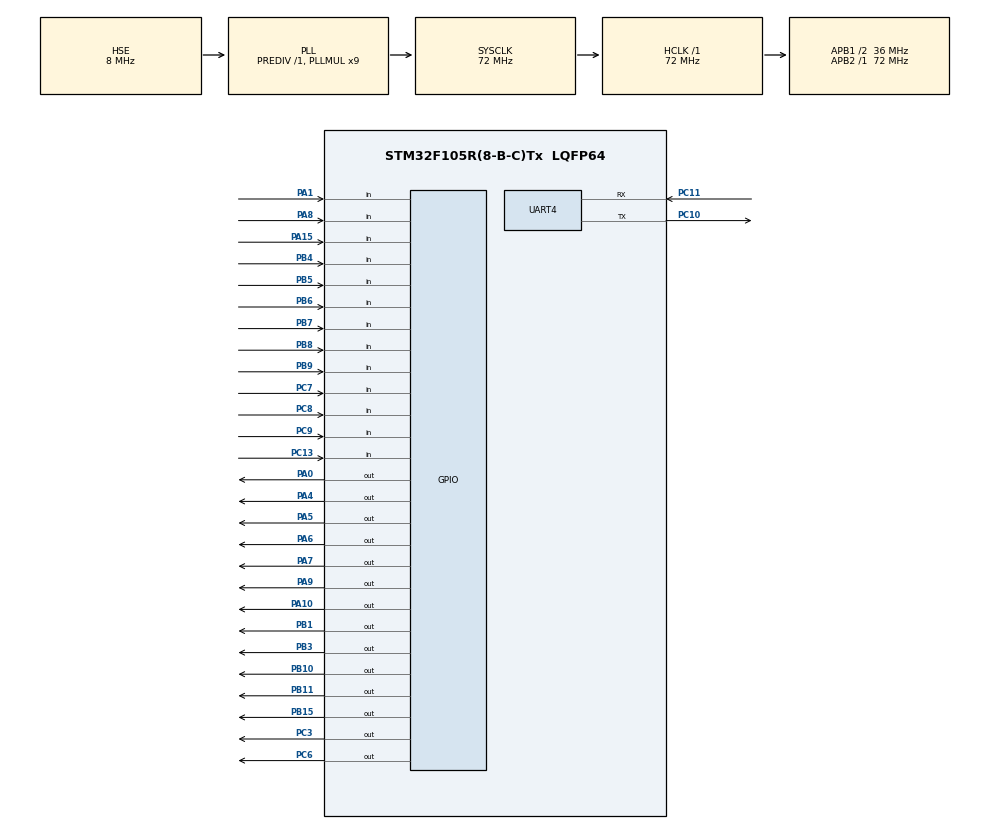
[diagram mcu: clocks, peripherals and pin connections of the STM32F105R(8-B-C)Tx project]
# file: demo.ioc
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Mcu.Family=STM32F1
Mcu.Name=STM32F105R(8-B-C)Tx
Mcu.Package=LQFP64
NVIC.PriorityGroup=NVIC_PRIORITYGROUP_4
NVIC.TIM3_IRQn=true\:3\:0\:false\:false\:true\:true\:true\:true
NVIC.UART4_IRQn=true\:0\:0\:false\:false\:true\:true\:true\:true
PA0-WKUP.GPIO_PuPd=GPIO_PULLUP
PA0-WKUP.GPIO_Speed=GPIO_SPEED_FREQ_MEDIUM
PA0-WKUP.PinState=GPIO_PIN_SET
PA0-WKUP.Signal=GPIO_Output
PA1.GPIO_PuPd=GPIO_PULLUP
PA1.Signal=GPIO_Input
PA10.GPIO_PuPd=GPIO_PULLUP
PA10.GPIO_Speed=GPIO_SPEED_FREQ_MEDIUM
PA10.Signal=GPIO_Output
PA13.Mode=Serial_Wire
PA13.Signal=SYS_JTMS-SWDIO
PA14.Mode=Serial_Wire
PA14.Signal=SYS_JTCK-SWCLK
PA15.GPIO_PuPd=GPIO_PULLUP
PA15.Signal=GPIO_Input
PA4.GPIO_PuPd=GPIO_PULLUP
PA4.GPIO_Speed=GPIO_SPEED_FREQ_MEDIUM
PA4.PinState=GPIO_PIN_SET
PA4.Signal=GPIO_Output
PA5.GPIO_PuPd=GPIO_PULLUP
PA5.GPIO_Speed=GPIO_SPEED_FREQ_MEDIUM
PA5.PinState=GPIO_PIN_SET
PA5.Signal=GPIO_Output
PA6.GPIO_PuPd=GPIO_PULLUP
PA6.GPIO_Speed=GPIO_SPEED_FREQ_HIGH
PA6.PinState=GPIO_PIN_SET
PA6.Signal=GPIO_Output
PA7.GPIO_PuPd=GPIO_PULLUP
PA7.GPIO_Speed=GPIO_SPEED_FREQ_HIGH
PA7.PinState=GPIO_PIN_SET
PA7.Signal=GPIO_Output
PA8.GPIO_PuPd=GPIO_PULLUP
PA8.Signal=GPIO_Input
PA9.GPIO_PuPd=GPIO_PULLUP
PA9.GPIO_Speed=GPIO_SPEED_FREQ_MEDIUM
PA9.PinState=GPIO_PIN_RESET
PA9.Signal=GPIO_Output
PB1.GPIO_PuPd=GPIO_PULLDOWN
PB1.GPIO_Speed=GPIO_SPEED_FREQ_MEDIUM
PB1.Signal=GPIO_Output
PB10.GPIO_PuPd=GPIO_PULLUP
PB10.GPIO_Speed=GPIO_SPEED_FREQ_HIGH
PB10.PinState=GPIO_PIN_SET
PB10.Signal=GPIO_Output
PB11.GPIO_PuPd=GPIO_PULLUP
PB11.GPIO_Speed=GPIO_SPEED_FREQ_HIGH
PB11.PinState=GPIO_PIN_SET
PB11.Signal=GPIO_Output
PB15.GPIO_PuPd=GPIO_PULLUP
PB15.GPIO_Speed=GPIO_SPEED_FREQ_MEDIUM
PB15.PinState=GPIO_PIN_SET
PB15.Signal=GPIO_Output
PB3.GPIO_PuPd=GPIO_PULLUP
PB3.GPIO_Speed=GPIO_SPEED_FREQ_MEDIUM
PB3.PinState=GPIO_PIN_SET
PB3.Signal=GPIO_Output
PB4.GPIO_PuPd=GPIO_PULLUP
PB4.Signal=GPIO_Input
PB5.GPIO_PuPd=GPIO_PULLUP
PB5.Signal=GPIO_Input
PB6.GPIO_PuPd=GPIO_PULLUP
PB6.Signal=GPIO_Input
PB7.GPIO_PuPd=GPIO_PULLDOWN
PB7.Signal=GPIO_Input
PB8.GPIO_PuPd=GPIO_PULLUP
PB8.Signal=GPIO_Input
PB9.GPIO_PuPd=GPIO_PULLUP
PB9.Signal=GPIO_Input
PC10.Mode=Asynchronous
PC10.Signal=UART4_TX
PC11.GPIO_PuPd=GPIO_PULLUP
PC11.Mode=Asynchronous
PC11.Signal=UART4_RX
PC13-TAMPER-RTC.GPIO_PuPd=GPIO_PULLUP
PC13-TAMPER-RTC.Signal=GPIO_Input
PC3.GPIO_PuPd=GPIO_PULLUP
PC3.GPIO_Speed=GPIO_SPEED_FREQ_MEDIUM
PC3.PinState=GPIO_PIN_SET
PC3.Signal=GPIO_Output
PC6.GPIO_PuPd=GPIO_PULLUP
PC6.GPIO_Speed=GPIO_SPEED_FREQ_MEDIUM
PC6.PinState=GPIO_PIN_SET
PC6.Signal=GPIO_Output
PC7.GPIO_PuPd=GPIO_PULLUP
PC7.Signal=GPIO_Input
PC8.GPIO_PuPd=GPIO_PULLUP
PC8.Signal=GPIO_Input
PC9.GPIO_PuPd=GPIO_PULLUP
PC9.Signal=GPIO_Input
PD0-OSC_IN.Mode=HSE-External-Oscillator
PD0-OSC_IN.Signal=RCC_OSC_IN
PD1-OSC_OUT.Mode=HSE-External-Oscillator
PD1-OSC_OUT.Signal=RCC_OSC_OUT
ProjectManager.HeapSize=0x200
ProjectManager.StackSize=0x400
ProjectManager.TargetToolchain=STM32CubeIDE
RCC.AHBFreq_Value=72000000
RCC.APB1CLKDivider=RCC_HCLK_DIV2
RCC.APB1Freq_Value=36000000
RCC.APB1TimFreq_Value=72000000
RCC.APB2Freq_Value=72000000
RCC.APB2TimFreq_Value=72000000
RCC.HCLKFreq_Value=72000000
RCC.PLLMUL=RCC_PLL_MUL9
RCC.PLLSourceVirtual=RCC_PLLSOURCE_HSE
RCC.SYSCLKFreq_VALUE=72000000
RCC.SYSCLKSource=RCC_SYSCLKSOURCE_PLLCLK
RCC.USBFreq_Value=48000000
TIM3.AutoReloadPreload=TIM_AUTORELOAD_PRELOAD_ENABLE
TIM3.Period=999
TIM3.Prescaler=71
UART4.VirtualMode=Asynchronous
VP_TIM3_VS_ClockSourceINT.Mode=Internal
board=custom

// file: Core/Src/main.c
/* USER CODE BEGIN Header */
/**
  ******************************************************************************
  * @file           : main.c
  * @brief          : Main program body
  ******************************************************************************
  * @attention
  *
  * Copyright (c) 2025 STMicroelectronics.
  * All rights reserved.
  *
  * This software is licensed under terms that can be found in the LICENSE file
  * in the root directory of this software component.
  * If no LICENSE file comes with this software, it is provided AS-IS.
  *
  ******************************************************************************
  */
/* USER CODE END Header */
#include "main.h"
#include "tim.h"
#include "usart.h"
#include "gpio.h"

/* USER CODE BEGIN Includes */
#include "can.h"
#include "lcd12864.h"
#include "app_time.h"
#include "adc_keys.h"
#include "key_service.h"
#include "dbc_codec.h"
#include "stdio.h"
#include "string.h"
/* USER CODE END Includes */

/* USER CODE BEGIN PTD */
#define PUTCHAR_PROTOTYPE int __io_putchar(int ch)

PUTCHAR_PROTOTYPE
{
    (void)HAL_UART_Transmit(&huart4, (uint8_t *)&ch, 1U, 100U);
    return ch;
}
/* USER CODE END PTD */

/* USER CODE BEGIN PD */

#define SHELL_LINE_SIZE 64U
#define FW_VERSION      "V1.6.0"
#define DBC_CANBOX_PACKET_COUNT 6U
#define MENU_PAGE_COUNT          3U
#define LCD_ROW_REFRESH_MS       100U // LCD每行刷新周期100ms

/* USER CODE END PD */

void SystemClock_Config(void);
/* USER CODE BEGIN PFP */

static void Shell_PrintPrompt(void);
static void Shell_PrintHelp(void);
static void Shell_Execute(char *line);
static void Shell_Process(void);
static uint8_t Shell_ParseHex(const char **text, uint32_t *value);
static uint8_t Shell_ParseDecimal(const char **text, uint32_t *value);
static void Shell_CanSend(const char *arguments);
static void Shell_LcdShow(const char *arguments);
static void CAN_PrintStatus(void);
static void CAN_ProcessReceived(void);
static void Key_ProcessEvents(void);
static void DBC_PrintFrame(const DBC_Frame *frame);
static void DBC_PrintInfo(void);
static void DBC_PrintSignals(void);
static void Shell_DbcEncode(const char *arguments);
static void Shell_DbcSend(const char *arguments);
static void Shell_DbcSet(const char *arguments);
static void Shell_DbcDecode(const char *arguments);
static void Shell_DbcChecksum(const char *arguments);
static uint8_t DBC_SendCanBoxPacket(uint8_t packet_number, uint32_t value,
                                    uint8_t verbose);
static void DBC_TxTask(uint32_t now_ms);
static void DBC_TxPrintStatus(void);
static void Menu_HandleKeyEvent(const KeyEvent *event);
static void Menu_LcdTask(uint32_t now_ms);
static void Menu_RenderRow(uint8_t row, uint32_t now_ms);

/* USER CODE END PFP */

/* USER CODE BEGIN 0 */

static uint8_t can_rx_monitor_enabled = 1U;
static uint8_t key_monitor_enabled = 1U;
static uint32_t key_sample_last_ms;
static uint32_t heartbeat_last_ms;
static DBC_PcSignals dbc_pc_signals;
static DBC_Packet1Receiver dbc_packet1_receiver;
static DBC_Status dbc_packet1_last_status = DBC_STATUS_NOT_HANDLED;
static uint8_t dbc_tx_enabled;
static uint32_t dbc_canbox_values[DBC_CANBOX_PACKET_COUNT];
static uint32_t dbc_tx_last_ms[DBC_CANBOX_PACKET_COUNT];
static uint32_t dbc_tx_queued;
static uint32_t dbc_tx_busy;
// 报文发送目标周期
static const uint32_t dbc_tx_period_ms[DBC_CANBOX_PACKET_COUNT] =
{
  500U, 1000U, 0U, 0U, 1000U, 300U
};
static const uint8_t dbc_canbox_max[DBC_CANBOX_PACKET_COUNT] =
{
  3U, 3U, 15U, 7U, 3U, 3U
};
static const char *const dbc_canbox_short_name[DBC_CANBOX_PACKET_COUNT] =
{
  "DevIx", "UnitSys", "CallLog", "MutePrio", "AudioMute", "KeyACC"
};
static const uint32_t dbc_pc_timeout_ms[DBC_PC_SIGNAL_COUNT] =
{
  200U, 300U, 500U, 2000U, 5000U
};
static uint8_t menu_page;
static uint8_t menu_selected_packet;
static uint8_t menu_refresh_row;
static uint32_t menu_refresh_last_ms;

static void Shell_PrintPrompt(void)
{
  printf("canbox> ");
}

static void Shell_PrintHelp(void)
{
  printf("Supported commands:\r\n");
  printf("  help, h   - show this command list\r\n");
  printf("  checkVer  - show firmware version\r\n");
  printf("  canstat   - show CAN status\r\n");
  printf("  cansend <ext_id> [00..FF] - send an extended CAN frame\r\n");
  printf("  canrx on|off - enable or disable received-frame printing\r\n");
  printf("  canclear  - clear CAN software counters\r\n");
  printf("  lcdtest   - show four-line LCD test pattern\r\n");
  printf("  lcdclear  - clear LCD text\r\n");
  printf("  lcdinit   - resend LCD initialization sequence\r\n");
  printf("  lcdshow <row> <col> <text> - display ASCII text\r\n");
  printf("  keyadc    - show three keypad ADC values and raw key\r\n");
  printf("  keystat   - show debounced key and press duration\r\n");
  printf("  keymon on|off - enable or disable key event printing\r\n");
  printf("  dbcinfo   - show DBC message IDs and signal layout\r\n");
  printf("  dbcencode <packet 1..6> <value> - encode CanBox frame\r\n");
  printf("  dbcsend <packet 1..6> <value> - encode and send CanBox frame\r\n");
  printf("  dbcset <packet 1..6> <value> - set periodic/request signal value\r\n");
  printf("  dbctx on|off|stat - control periodic CanBox transmission\r\n");
  printf("  dbcdecode <packet 2..6> <8 bytes> - decode PC frame\r\n");
  printf("  dbccrc <7 bytes> - calculate PC_Packet_1 checksum\r\n");
  printf("  dbcshow   - show received PC signal state\r\n");
  printf("  dbctest   - run DBC codec self-test\r\n");
  printf("  reset     - reset MCU\r\n");
}

static uint8_t Shell_ParseHex(const char **text, uint32_t *value)
{
  const char *cursor = *text;
  uint32_t parsed = 0U;
  uint8_t digits = 0U;

  while (*cursor == ' ')
  {
    cursor++;
  }
  if ((cursor[0] == '0') && ((cursor[1] == 'x') || (cursor[1] == 'X')))
  {
    cursor += 2;
  }

  while (*cursor != '\0')
  {
    uint8_t nibble;

    if ((*cursor >= '0') && (*cursor <= '9'))
    {
      nibble = (uint8_t)(*cursor - '0');
    }
    else if ((*cursor >= 'a') && (*cursor <= 'f'))
    {
      nibble = (uint8_t)(*cursor - 'a' + 10);
    }
    else if ((*cursor >= 'A') && (*cursor <= 'F'))
    {
      nibble = (uint8_t)(*cursor - 'A' + 10);
    }
    else
    {
      break;
    }

    if (digits >= 8U)
    {
      return 0U;
    }
    parsed = (parsed << 4) | nibble;
    digits++;
    cursor++;
  }

  if ((digits == 0U) || ((*cursor != '\0') && (*cursor != ' ')))
  {
    return 0U;
  }

  *value = parsed;
  *text = cursor;
  return 1U;
}

static uint8_t Shell_ParseDecimal(const char **text, uint32_t *value)
{
  const char *cursor = *text;
  uint32_t parsed = 0U;
  uint8_t digits = 0U;

  while (*cursor == ' ')
  {
    cursor++;
  }

  while ((*cursor >= '0') && (*cursor <= '9'))
  {
    if (parsed > 1000U)
    {
      return 0U;
    }
    parsed = (parsed * 10U) + (uint32_t)(*cursor - '0');
    digits++;
    cursor++;
  }

  if ((digits == 0U) || ((*cursor != '\0') && (*cursor != ' ')))
  {
    return 0U;
  }

  *value = parsed;
  *text = cursor;
  return 1U;
}

static void Shell_CanSend(const char *arguments)
{
  uint32_t id;
  uint32_t value;
  uint8_t data[8];
  uint8_t dlc = 0U;

  if ((Shell_ParseHex(&arguments, &id) == 0U) || (id > 0x1FFFFFFFUL))
  {
    printf("ERR usage: cansend <0..1FFFFFFF> [00..FF, max 8]\r\n");
    return;
  }

  while (1)
  {
    while (*arguments == ' ')
    {
      arguments++;
    }
    if (*arguments == '\0')
    {
      break;
    }
    if ((dlc >= 8U) || (Shell_ParseHex(&arguments, &value) == 0U) || (value > 0xFFU))
    {
      printf("ERR usage: cansend <0..1FFFFFFF> [00..FF, max 8]\r\n");
      return;
    }
    data[dlc++] = (uint8_t)value;
  }

  if (CAN1_SendExtended(id, data, dlc) != 0U)
  {
    printf("CAN TX queued: ID=%08lX DLC=%u\r\n", (unsigned long)id, dlc);
  }
  else
  {
    printf("ERR CAN TX failed: check canstat (mailboxes may be busy)\r\n");
  }
}

static void Shell_LcdShow(const char *arguments)
{
  uint32_t row;
  uint32_t col;
  size_t length;

  if ((Shell_ParseDecimal(&arguments, &row) == 0U) ||
      (Shell_ParseDecimal(&arguments, &col) == 0U) ||
      (row >= LCD12864_ROWS) || (col >= LCD12864_COLS))
  {
    printf("ERR usage: lcdshow <row 0..3> <col 0..15> <ASCII text>\r\n");
    return;
  }

  while (*arguments == ' ')
  {
    arguments++;
  }
  if (*arguments == '\0')
  {
    printf("ERR lcdshow text is empty\r\n");
    return;
  }

  length = strlen(arguments);
  if (length > 255U)
  {
    length = 255U;
  }
  lcd12864_display((uint8_t)row, (uint8_t)col,
                   (const uint8_t *)arguments, (uint8_t)length);
  printf("LCD updated: row=%lu col=%lu\r\n",
         (unsigned long)row, (unsigned long)col);
}

static void DBC_PrintFrame(const DBC_Frame *frame)
{
  uint8_t index;

  if (frame == NULL)
  {
    return;
  }
  printf("ID=%08lX DLC=%u DATA=", (unsigned long)frame->id, frame->dlc);
  for (index = 0U; index < frame->dlc; index++)
  {
    printf("%02X%s", frame->data[index],
           ((index + 1U) < frame->dlc) ? " " : "");
  }
  printf("\r\n");
}

static void DBC_PrintInfo(void)
{
  printf("PC -> CanBox (extended, DLC=8):\r\n");
  printf("  PC1 0CFFD221 500ms multi-frame + checksum\r\n");
  printf("  PC2 0CFFD222 20ms   Data@byte1\r\n");
  printf("  PC3 0CFFD223 50ms   Data@byte2\r\n");
  printf("  PC4 0CFFD224 100ms  Data@byte3\r\n");
  printf("  PC5 0CFFD225 500ms  Data@byte4\r\n");
  printf("  PC6 0CFFD226 1500ms Data@byte5\r\n");
  printf("CanBox -> PC (extended, DLC=8):\r\n");
  printf("  CB1 18FF2517 500ms DevIx byte1.bit1 len2\r\n");
  printf("  CB2 18FF2518 1000ms UnitSysSet byte3.bit3 len2\r\n");
  printf("  CB3 18FF2519 request CallFromLogIx byte5.bit1 len4\r\n");
  printf("  CB4 18FF251A request MutePrioReq byte6.bit1 len3\r\n");
  printf("  CB5 18FF251B 1000ms/request AudioMute byte8.bit1 len2\r\n");
  printf("  CB6 18FF251C 300ms/request KeyACC byte8.bit7 len2\r\n");
}

static void DBC_PrintSignals(void)
{
  uint8_t index;

  printf("PC_Packet_1: status=%s length=%u received=%u\r\n",
         DBC_StatusName(dbc_packet1_last_status),
         dbc_packet1_receiver.total_length,
         dbc_packet1_receiver.received_length);
  if (dbc_packet1_last_status == DBC_STATUS_COMPLETE)
  {
    uint8_t shown = dbc_packet1_receiver.received_length;
    if (shown > 16U)
    {
      shown = 16U;
    }
    printf("  data(first %u)=", shown);
    for (index = 0U; index < shown; index++)
    {
      printf("%02X%s", dbc_packet1_receiver.data[index],
             ((index + 1U) < shown) ? " " : "");
    }
    printf("\r\n");
  }

  for (index = 0U; index < DBC_PC_SIGNAL_COUNT; index++)
  {
    if ((dbc_pc_signals.valid_mask & (uint8_t)(1U << index)) != 0U)
    {
      printf("%s=%u last=%lums\r\n", DBC_PcSignalName(index),
             dbc_pc_signals.data[index],
             (unsigned long)dbc_pc_signals.last_update_ms[index]);
    }
    else
    {
      printf("%s=#\r\n", DBC_PcSignalName(index));
    }
  }
}

static void Shell_DbcEncode(const char *arguments)
{
  uint32_t packet_number;
  uint32_t requested_value;
  uint32_t encoded_value;
  DBC_Frame frame;
  DBC_Status status;

  if ((Shell_ParseDecimal(&arguments, &packet_number) == 0U) ||
      (Shell_ParseDecimal(&arguments, &requested_value) == 0U))
  {
    printf("ERR usage: dbcencode <packet 1..6> <value>\r\n");
    return;
  }
  while (*arguments == ' ')
  {
    arguments++;
  }
  if (*arguments != '\0')
  {
    printf("ERR usage: dbcencode <packet 1..6> <value>\r\n");
    return;
  }

  status = DBC_EncodeCanBoxPacket((uint8_t)packet_number, requested_value,
                                  &frame, &encoded_value);
  if (status != DBC_STATUS_OK)
  {
    printf("ERR DBC encode: %s\r\n", DBC_StatusName(status));
    return;
  }
  printf("%s requested=%lu encoded=%lu%s\r\n",
         DBC_CanBoxSignalName((uint8_t)packet_number),
         (unsigned long)requested_value, (unsigned long)encoded_value,
         (requested_value != encoded_value) ? " (clamped)" : "");
  DBC_PrintFrame(&frame);
}
// DBC编码
static uint8_t DBC_SendCanBoxPacket(uint8_t packet_number, uint32_t value,
                                    uint8_t verbose)
{
  DBC_Frame frame;
  DBC_Status status;
  uint32_t encoded_value;

  status = DBC_EncodeCanBoxPacket(packet_number, value, &frame, &encoded_value);
  if (status != DBC_STATUS_OK)
  {
    if (verbose != 0U)
    {
      printf("ERR DBC encode: %s\r\n", DBC_StatusName(status));
    }
    return 0U;
  }

  if (CAN1_SendExtended(frame.id, frame.data, frame.dlc) == 0U)
  {
    dbc_tx_busy++;
    if (verbose != 0U)
    {
      printf("ERR DBC CAN TX busy/failed: packet=%u ID=%08lX\r\n",
             packet_number, (unsigned long)frame.id);
    }
    return 0U;
  }

  dbc_tx_queued++;
  if (verbose != 0U)
  {
    printf("DBC TX %s requested=%lu encoded=%lu%s\r\n",
           DBC_CanBoxSignalName(packet_number),
           (unsigned long)value, (unsigned long)encoded_value,
           (value != encoded_value) ? " (clamped)" : "");
    DBC_PrintFrame(&frame);
  }
  return 1U;
}

static void Shell_DbcSend(const char *arguments)
{
  uint32_t packet_number;
  uint32_t value;

  if ((Shell_ParseDecimal(&arguments, &packet_number) == 0U) ||
      (Shell_ParseDecimal(&arguments, &value) == 0U))
  {
    printf("ERR usage: dbcsend <packet 1..6> <value>\r\n");
    return;
  }
  while (*arguments == ' ')
  {
    arguments++;
  }
  if ((*arguments != '\0') || (packet_number < 1U) ||
      (packet_number > DBC_CANBOX_PACKET_COUNT))
  {
    printf("ERR usage: dbcsend <packet 1..6> <value>\r\n");
    return;
  }

  (void)DBC_SendCanBoxPacket((uint8_t)packet_number, value, 1U);
}

static void Shell_DbcSet(const char *arguments)
{
  uint32_t packet_number;
  uint32_t requested_value;
  uint32_t encoded_value;
  DBC_Frame frame;
  DBC_Status status;

  if ((Shell_ParseDecimal(&arguments, &packet_number) == 0U) ||
      (Shell_ParseDecimal(&arguments, &requested_value) == 0U))
  {
    printf("ERR usage: dbcset <packet 1..6> <value>\r\n");
    return;
  }
  while (*arguments == ' ')
  {
    arguments++;
  }
  if ((*arguments != '\0') || (packet_number < 1U) ||
      (packet_number > DBC_CANBOX_PACKET_COUNT))
  {
    printf("ERR usage: dbcset <packet 1..6> <value>\r\n");
    return;
  }

  status = DBC_EncodeCanBoxPacket((uint8_t)packet_number, requested_value,
                                  &frame, &encoded_value);
  if (status != DBC_STATUS_OK)
  {
    printf("ERR DBC set: %s\r\n", DBC_StatusName(status));
    return;
  }

  dbc_canbox_values[packet_number - 1U] = encoded_value;
  printf("DBC value %s=%lu%s%s\r\n",
         DBC_CanBoxSignalName((uint8_t)packet_number),
         (unsigned long)encoded_value,
         (requested_value != encoded_value) ? " (clamped)" : "",
         (dbc_tx_period_ms[packet_number - 1U] == 0U) ?
         " (request only; use dbcsend)" : "");
}

static void DBC_TxTask(uint32_t now_ms)
{
  uint8_t index;

  if (dbc_tx_enabled == 0U)
  {
    return;
  }

  for (index = 0U; index < DBC_CANBOX_PACKET_COUNT; index++)
  {
    uint32_t period_ms = dbc_tx_period_ms[index];
    uint32_t elapsed_ms = (uint32_t)(now_ms - dbc_tx_last_ms[index]);
    if ((period_ms != 0U) && (elapsed_ms >= period_ms))
    {
      if (DBC_SendCanBoxPacket((uint8_t)(index + 1U),
                               dbc_canbox_values[index], 0U) != 0U)
      {
        dbc_tx_last_ms[index] += (elapsed_ms / period_ms) * period_ms;
      }
      /* Queue at most one frame per main-loop pass. This also prevents four
         simultaneous periodic frames from exhausting bxCAN's three mailboxes. */
      return;
    }
  }
}

static void DBC_TxPrintStatus(void)
{
  uint8_t index;

  printf("DBC periodic TX: %s queued=%lu busy=%lu\r\n",
         (dbc_tx_enabled != 0U) ? "on" : "off",
         (unsigned long)dbc_tx_queued, (unsigned long)dbc_tx_busy);
  for (index = 0U; index < DBC_CANBOX_PACKET_COUNT; index++)
  {
    if (dbc_tx_period_ms[index] != 0U)
    {
      printf("  CB%u %s=%lu period=%lums\r\n", index + 1U,
             DBC_CanBoxSignalName((uint8_t)(index + 1U)),
             (unsigned long)dbc_canbox_values[index],
             (unsigned long)dbc_tx_period_ms[index]);
    }
    else
    {
      printf("  CB%u %s=%lu request-only\r\n", index + 1U,
             DBC_CanBoxSignalName((uint8_t)(index + 1U)),
             (unsigned long)dbc_canbox_values[index]);
    }
  }
}

static void Shell_DbcDecode(const char *arguments)
{
  static const uint32_t packet_ids[5] =
  {
    DBC_ID_PC_PACKET_2, DBC_ID_PC_PACKET_3, DBC_ID_PC_PACKET_4,
    DBC_ID_PC_PACKET_5, DBC_ID_PC_PACKET_6
  };
  uint32_t packet_number;
  uint32_t byte_value;
  uint8_t data[8];
  uint8_t index;
  uint8_t signal_index;
  uint8_t signal_value;
  DBC_Status status;

  if ((Shell_ParseDecimal(&arguments, &packet_number) == 0U) ||
      (packet_number < 2U) || (packet_number > 6U))
  {
    printf("ERR usage: dbcdecode <packet 2..6> <8 hex bytes>\r\n");
    return;
  }
  for (index = 0U; index < 8U; index++)
  {
    if ((Shell_ParseHex(&arguments, &byte_value) == 0U) || (byte_value > 0xFFU))
    {
      printf("ERR usage: dbcdecode <packet 2..6> <8 hex bytes>\r\n");
      return;
    }
    data[index] = (uint8_t)byte_value;
  }
  while (*arguments == ' ')
  {
    arguments++;
  }
  if (*arguments != '\0')
  {
    printf("ERR too many data bytes\r\n");
    return;
  }

  status = DBC_DecodePcFrame(packet_ids[packet_number - 2U], data, 8U,
                             AppTime_GetMs(), &dbc_pc_signals,
                             &signal_index, &signal_value);
  if (status == DBC_STATUS_OK)
  {
    printf("DBC decoded %s=%u\r\n",
           DBC_PcSignalName(signal_index), signal_value);
  }
  else
  {
    printf("ERR DBC decode: %s\r\n", DBC_StatusName(status));
  }
}

static void Shell_DbcChecksum(const char *arguments)
{
  uint8_t bytes[7];
  uint8_t index;
  uint32_t value;

  for (index = 0U; index < 7U; index++)
  {
    if ((Shell_ParseHex(&arguments, &value) == 0U) || (value > 0xFFU))
    {
      printf("ERR usage: dbccrc <7 hex bytes>\r\n");
      return;
    }
    bytes[index] = (uint8_t)value;
  }
  while (*arguments == ' ')
  {
    arguments++;
  }
  if (*arguments != '\0')
  {
    printf("ERR usage: dbccrc <7 hex bytes>\r\n");
    return;
  }
  printf("PC_Packet_1 checksum=%02X\r\n", DBC_Packet1Checksum(bytes));
}

static void CAN_PrintStatus(void)
{
  CAN1_Statistics statistics;

  CAN1_GetStatistics(&statistics);
  printf("CAN1: %s, 500K, normal mode\r\n", CAN1_GetStateName());
  printf("TEC=%u REC=%u LEC=%u ESR=%08lX\r\n",
         CAN1_GetTEC(), CAN1_GetREC(), CAN1_GetLastErrorCode(),
         (unsigned long)CAN1->ESR);
  printf("TX queued=%lu ok=%lu failed=%lu\r\n",
         (unsigned long)statistics.tx_queued,
         (unsigned long)statistics.tx_ok,
         (unsigned long)statistics.tx_failed);
  printf("RX=%lu dropped=%lu overrun=%lu error_irq=%lu monitor=%s\r\n",
         (unsigned long)statistics.rx_received,
         (unsigned long)statistics.rx_dropped,
         (unsigned long)statistics.fifo_overrun,
         (unsigned long)statistics.error_irqs,
         (can_rx_monitor_enabled != 0U) ? "on" : "off");
}

static void CAN_ProcessReceived(void)
{
  CAN1_Frame frame;
  // 从软件环形队列中取出一帧，使用while尽量把当前队列的所有报文处理完
  while (CAN1_Read(&frame) != 0U)
  {
    uint8_t i;
    DBC_Status dbc_status = DBC_STATUS_NOT_HANDLED;
    uint8_t signal_index = 0U;
    uint8_t signal_value = 0U;

    // 判断是否为扩展帧
    if (frame.is_extended != 0U)
    {
      // 特殊处理 PC_PACKET_1
      if (frame.id == DBC_ID_PC_PACKET_1)
      {
        dbc_status = DBC_Packet1Push(&dbc_packet1_receiver, frame.data,
                                     frame.dlc, frame.timestamp_ms);
        dbc_packet1_last_status = dbc_status;
      }
      else
      {
    	// 解析 PC2～PC6
        dbc_status = DBC_DecodePcFrame(frame.id, frame.data, frame.dlc,
                                       frame.timestamp_ms, &dbc_pc_signals,
                                       &signal_index, &signal_value);
      }
    }

    if (can_rx_monitor_enabled == 0U)
    {
      continue;
    }

    if (dbc_status == DBC_STATUS_OK)
    {
      printf("\r\nDBC RX %s=%u\r\n",
             DBC_PcSignalName(signal_index), signal_value);
    }
    else if (dbc_status == DBC_STATUS_COMPLETE)
    {
      printf("\r\nDBC RX PC_Packet_1 complete, length=%u\r\n",
             dbc_packet1_receiver.received_length);
    }
    else if ((dbc_status != DBC_STATUS_NOT_HANDLED) &&
             (dbc_status != DBC_STATUS_IN_PROGRESS))
    {
      printf("\r\nDBC RX rejected: %s\r\n", DBC_StatusName(dbc_status));
    }

    printf("\r\nCAN RX %s ID=%08lX DLC=%u DATA=",
           (frame.is_extended != 0U) ? "EXT" : "STD",
           (unsigned long)frame.id, frame.dlc);
    for (i = 0U; i < frame.dlc; i++)
    {
      printf("%02X", frame.data[i]);
      if ((i + 1U) < frame.dlc)
      {
        printf(" ");
      }
    }
    printf(" T=%lums\r\n", (unsigned long)frame.timestamp_ms);
    // 据监视开关把解析结果和原始报文输出到串口
    Shell_PrintPrompt();
  }
}

static void Menu_FormatPcValue(uint8_t index, uint32_t now_ms, char value[4])
{
  if ((index < DBC_PC_SIGNAL_COUNT) &&
      ((dbc_pc_signals.valid_mask & (uint8_t)(1U << index)) != 0U) &&
      ((uint32_t)(now_ms - dbc_pc_signals.last_update_ms[index]) <=
       dbc_pc_timeout_ms[index]))
  {
    (void)snprintf(value, 4U, "%03u", dbc_pc_signals.data[index]);
  }
  else
  {
    value[0] = '#';
    value[1] = '#';
    value[2] = '#';
    value[3] = '\0';
  }
}

static void Menu_RenderRow(uint8_t row, uint32_t now_ms)
{
  char line[LCD12864_COLS + 1U];

  memset(line, 0, sizeof(line));
  if (menu_page == 0U)
  {
    uint8_t packet = menu_selected_packet;
    // 读取刚修改的变量并组织文字
    if (row == 0U)
    {
      (void)snprintf(line, sizeof(line), "TX CB%u %s", packet + 1U,
                     (dbc_tx_period_ms[packet] != 0U) ? "AUTO" : "REQUEST");
    }
    else if (row == 1U)
    {
      (void)snprintf(line, sizeof(line), "%s=%lu/%u",
                     dbc_canbox_short_name[packet],
                     (unsigned long)dbc_canbox_values[packet],
                     dbc_canbox_max[packet]);
    }
    else if (row == 2U)
    {
      if (dbc_tx_period_ms[packet] != 0U)
      {
        uint16_t period_ms = (uint16_t)dbc_tx_period_ms[packet];
        (void)snprintf(line, sizeof(line), "P%uMS %s", period_ms,
                       (dbc_tx_enabled != 0U) ? "ON" : "OFF");
      }
      else
      {
        (void)snprintf(line, sizeof(line), "CONFIRM=SEND");
      }
    }
    else
    {
      (void)snprintf(line, sizeof(line), "LR SEL UD VALUE");
    }
  }
  else if (menu_page == 1U)
  {
    char first[4];
    char second[4];
    if (row == 0U)
    {
      Menu_FormatPcValue(0U, now_ms, first);
      (void)snprintf(line, sizeof(line), "RX PC2:%s", first);
    }
    else if (row == 1U)
    {
      Menu_FormatPcValue(1U, now_ms, first);
      Menu_FormatPcValue(2U, now_ms, second);
      (void)snprintf(line, sizeof(line), "P3:%s P4:%s", first, second);
    }
    else if (row == 2U)
    {
      Menu_FormatPcValue(3U, now_ms, first);
      Menu_FormatPcValue(4U, now_ms, second);
      (void)snprintf(line, sizeof(line), "P5:%s P6:%s", first, second);
    }
    else
    {
      (void)snprintf(line, sizeof(line), "#=TIMEOUT/NONE");
    }
  }
  else
  {
    CAN1_Statistics statistics;
    CAN1_GetStatistics(&statistics);
    if (row == 0U)
    {
      (void)snprintf(line, sizeof(line), "CAN %.12s", CAN1_GetStateName());
    }
    else if (row == 1U)
    {
      (void)snprintf(line, sizeof(line), "TX:%lu RX:%lu",
                     (unsigned long)statistics.tx_ok,
                     (unsigned long)statistics.rx_received);
    }
    else if (row == 2U)
    {
      (void)snprintf(line, sizeof(line), "DROP:%lu ERR:%lu",
                     (unsigned long)statistics.rx_dropped,
                     (unsigned long)statistics.error_irqs);
    }
    else
    {
      (void)snprintf(line, sizeof(line), "TEC:%u REC:%u",
                     CAN1_GetTEC(), CAN1_GetREC());
    }
  }
  //最后显示LCD
  LCD12864_WriteLine(row, line);
}

static void Menu_LcdTask(uint32_t now_ms)
{
  if (AppTime_IsDue(now_ms, &menu_refresh_last_ms,
                    LCD_ROW_REFRESH_MS) != 0U)
  {
    Menu_RenderRow(menu_refresh_row, now_ms);
    menu_refresh_row = (uint8_t)((menu_refresh_row + 1U) % LCD12864_ROWS);
  }
}
// 对按键进行处理
static void Menu_HandleKeyEvent(const KeyEvent *event)
{
  uint8_t packet;

  if (event == NULL)
  {
    return;
  }
  // NEXT/PREVIOUS 修改menu_page,切换TX/RX/CAN页面
  if (event->key == KEY_RAW_NEXT_PAGE)
  {
    menu_page = (uint8_t)((menu_page + 1U) % MENU_PAGE_COUNT);
  }
  else if (event->key == KEY_RAW_PREVIOUS_PAGE)
  {
    menu_page = (menu_page == 0U) ? (MENU_PAGE_COUNT - 1U) :
                                    (uint8_t)(menu_page - 1U);
  }
  else if (menu_page == 0U)
  {
	// 当前选择CB1～CB6
    packet = menu_selected_packet;
    if (event->key == KEY_RAW_LEFT)
    {
      menu_selected_packet = (packet == 0U) ?
                             (DBC_CANBOX_PACKET_COUNT - 1U) :
                             (uint8_t)(packet - 1U);
    }
    else if (event->key == KEY_RAW_RIGHT)
    {
      menu_selected_packet = (uint8_t)((packet + 1U) %
                                       DBC_CANBOX_PACKET_COUNT);
    }
    else if (event->key == KEY_RAW_UP)
    {
      // 长按UP直接变成最大值
      if (event->type == KEY_EVENT_LONG)
      {
        dbc_canbox_values[packet] = dbc_canbox_max[packet];
      }
      else if (dbc_canbox_values[packet] < dbc_canbox_max[packet])
      {
        dbc_canbox_values[packet]++;
      }
    }
    // 长按DOWN直接变成0
    else if (event->key == KEY_RAW_DOWN)
    {
      if (event->type == KEY_EVENT_LONG)
      {
        dbc_canbox_values[packet] = 0U;
      }
      else if (dbc_canbox_values[packet] > 0U)
      {
        dbc_canbox_values[packet]--;
      }
    }
    else if (event->key == KEY_RAW_CONFIRM)
    {
      (void)DBC_SendCanBoxPacket((uint8_t)(packet + 1U),
                                 dbc_canbox_values[packet], 1U);
    }
    else if (event->key == KEY_RAW_CANCEL)
    {
      dbc_canbox_values[packet] = 0U;
    }
    else if (event->key == KEY_RAW_REVERSE)
    {
      dbc_tx_enabled = (dbc_tx_enabled == 0U) ? 1U : 0U;
    }
  }

  menu_refresh_row = 0U;
  menu_refresh_last_ms = 0U;
}

static void Key_ProcessEvents(void)
{
  KeyEvent event;

  while (KeyService_GetEvent(&event) != 0U)
  {
    const char *type_name = (event.type == KEY_EVENT_LONG) ? "LONG" : "SHORT";
    // 按键事件进行处理
    Menu_HandleKeyEvent(&event);

    if (key_monitor_enabled != 0U)
    {
      printf("\r\nKEY %s %s duration=%lums\r\n",
             ADC_Keys_GetName(event.key), type_name,
             (unsigned long)event.duration_ms);
      Shell_PrintPrompt();
    }
  }
}

static void Shell_Execute(char *line)
{
  char *end;

  while (*line == ' ')
  {
    line++;
  }

  end = line + strlen(line);
  while ((end > line) && (end[-1] == ' '))
  {
    *--end = '\0';
  }

  if (*line == '\0')
  {
    return;
  }
  // help/h 显示全部支持的命令
  if ((strcmp(line, "help") == 0) || (strcmp(line, "h") == 0))
  {
    Shell_PrintHelp();
  }
  // 显示当前固件版本
  else if (strcmp(line, "checkVer") == 0)
  {
    printf("%s\r\n", FW_VERSION);
  }
  // canstat显示CAN控制器状态
  /*CAN1: Error Active, 500K, normal mode
   *TEC=0 REC=0 LEC=0 ESR=00000000
   *TX queued=10 ok=10 failed=0
   *RX=5 dropped=0 overrun=0 error_irq=0
   *TEC：发送错误计数
   *REC：接收错误计数
   *LEC：最后一次CAN错误类型
   *TX queued：放入发送邮箱的数量
   *TX ok：实际发送成功数量
   *TX failed：发送失败数量
   *RX：收到的报文数量
   *dropped：软件队列满导致的丢帧
   *overrun：CAN硬件FIFO溢出
   *error_irq：CAN错误中断次数
   */
  else if (strcmp(line, "canstat") == 0)
  {
    CAN_PrintStatus();
  }
  // 直接发送一帧29位扩展CAN报文
  // 示例 cansend 18FF2517 03 00 00 00 00 00 00 00
  else if ((strncmp(line, "cansend", 7U) == 0) &&
           ((line[7] == '\0') || (line[7] == ' ')))
  {
    Shell_CanSend(&line[7]);
  }
  // 打开CAN接收报文打印
  else if (strcmp(line, "canrx on") == 0)
  {
    can_rx_monitor_enabled = 1U;
    printf("CAN RX monitor on\r\n");
  }
  // 关闭CAN接收报文的串口打印
  else if (strcmp(line, "canrx off") == 0)
  {
    can_rx_monitor_enabled = 0U;
    printf("CAN RX monitor off\r\n");
  }
  // 清空CAN软件统计计数
  else if (strcmp(line, "canclear") == 0)
  {
    CAN1_ClearStatistics();
    printf("CAN counters cleared\r\n");
  }
  // 显示四行固定测试字符
  else if (strcmp(line, "lcdtest") == 0)
  {
    LCD12864_TestPattern();
    printf("LCD test pattern sent\r\n");
  }
  // 清空LCD
  else if (strcmp(line, "lcdclear") == 0)
  {
    LCD12864_Clear();
    printf("LCD cleared\r\n");
  }
  // 重新发送LCD初始化序列
  else if (strcmp(line, "lcdinit") == 0)
  {
    (void)LCD12864_Init();
    printf("LCD initialization sequence sent\r\n");
  }
  // lcdshow <row> <col> <text> 在指定位置显示ASCII文本 row：0～3 col：0～15
  else if ((strncmp(line, "lcdshow", 7U) == 0) &&
           ((line[7] == '\0') || (line[7] == ' ')))
  {
    Shell_LcdShow(&line[7]);
  }
  // 查看三组按键电阻网络的ADC值及当前原始按键：
  else if (strcmp(line, "keyadc") == 0)
  {
    printf("KEY ADC: PC4/CH14=%u PC5/CH15=%u PB0/CH8=%u raw=%s\r\n",
           ADC_Keys_GetAdc(0U), ADC_Keys_GetAdc(1U), ADC_Keys_GetAdc(2U),
           ADC_Keys_GetName(ADC_Keys_GetRaw()));
  }
  // 查看消抖后的稳定按键和按下时长
  else if (strcmp(line, "keystat") == 0)
  {
    uint32_t now_ms = AppTime_GetMs();
    KeyRaw stable_key = KeyService_GetStableKey();
    printf("KEY stable=%s duration=%lums tick=%lums\r\n",
           ADC_Keys_GetName(stable_key),
           (unsigned long)KeyService_GetPressedDuration(now_ms),
           (unsigned long)now_ms);
  }
  // 打开按键事件打印
  else if (strcmp(line, "keymon on") == 0)
  {
    key_monitor_enabled = 1U;
    printf("Key event monitor on\r\n");
  }
  // 关闭按键事件打印
  else if (strcmp(line, "keymon off") == 0)
  {
    key_monitor_enabled = 0U;
    printf("Key event monitor off\r\n");
  }
  // 显示DBC报文ID、信号位置和周期
  /* PC1～PC6：0CFFD221～0CFFD226
   * CB1～CB6：18FF2517～18FF251C
   * */
  else if (strcmp(line, "dbcinfo") == 0)
  {
    DBC_PrintInfo();
  }
  // 只进行DBC编码，不发送CAN报文
  /*dbcencode <报文编号1..6> <信号值>
   * dbcencode 1 3
   * DevIx requested=3 encoded=3
   * ID=18FF2517 DLC=8 DATA=03 00 00 00 00 00 00 00
   * */
  else if ((strncmp(line, "dbcencode", 9U) == 0) &&
           ((line[9] == '\0') || (line[9] == ' ')))
  {
    Shell_DbcEncode(&line[9]);
  }
  // DBC编码后立即发送CAN报文(编码、显示并真正发送)
  /*dbcsend <报文编号1..6> <信号值>
   * */
  else if ((strncmp(line, "dbcsend", 7U) == 0) &&
           ((line[7] == '\0') || (line[7] == ' ')))
  {
    Shell_DbcSend(&line[7]);
  }
  // 修改程序保存的DBC信号值
  else if ((strncmp(line, "dbcset", 6U) == 0) &&
           ((line[6] == '\0') || (line[6] == ' ')))
  {
    Shell_DbcSet(&line[6]);
  }
  // 打开DBC周期发送，同时重新计算各报文的周期起点
  else if (strcmp(line, "dbctx on") == 0)
  {
    uint8_t index;
    uint32_t now_ms = AppTime_GetMs();
    for (index = 0U; index < DBC_CANBOX_PACKET_COUNT; index++)
    {
      dbc_tx_last_ms[index] = now_ms;
    }
    dbc_tx_enabled = 1U;
    printf("DBC periodic TX on\r\n");
  }
  // 关闭所有DBC周期发送
  else if (strcmp(line, "dbctx off") == 0)
  {
    dbc_tx_enabled = 0U;
    printf("DBC periodic TX off\r\n");
  }
  // 显示周期发送状态
  else if (strcmp(line, "dbctx stat") == 0)
  {
    DBC_TxPrintStatus();
  }
  // 不经过真实CAN，直接调用软件解码函数
  // dbcdecode <PC报文编号2..6> <8字节数据> dbcdecode 4 11 22 33 44 55 66 77 88
  // 用于离线验证PC2～PC6的DBC信号解析是否正确
  else if ((strncmp(line, "dbcdecode", 9U) == 0) &&
           ((line[9] == '\0') || (line[9] == ' ')))
  {
    Shell_DbcDecode(&line[9]);
  }
  // 计算PC Packet 1的校验值
  else if ((strncmp(line, "dbccrc", 6U) == 0) &&
           ((line[6] == '\0') || (line[6] == ' ')))
  {
    Shell_DbcChecksum(&line[6]);
  }
  // 显示已经从CAN总线接收到的PC端信号状态，如果某个PC报文尚未收到，会显示PC4=#
  else if (strcmp(line, "dbcshow") == 0)
  {
    DBC_PrintSignals();
  }
  // 执行DBC模块内部自测 DBC self-test: passed=6 failed=0 PASS
  else if (strcmp(line, "dbctest") == 0)
  {
    uint8_t passed;
    uint8_t failed;
    DBC_RunSelfTest(&passed, &failed);
    printf("DBC self-test: passed=%u failed=%u %s\r\n",
           passed, failed, (failed == 0U) ? "PASS" : "FAIL");
  }
  // 执行mcu复位
  else if (strcmp(line, "reset") == 0)
  {
    printf("Resetting MCU...\r\n");
    HAL_Delay(20U);
    NVIC_SystemReset();
  }
  else
  {
    printf("ERR unknown command: %s\r\n", line);
  }
}

static void Shell_Process(void)
{
  static char line[SHELL_LINE_SIZE];
  static uint16_t length;
  static uint8_t last_was_cr;
  uint8_t byte;

  while (UART4_ReadByte(&byte) != 0U)
  {
	// 收到\r或\n时，程序认为一条命令输入完成
    if ((byte == '\r') || (byte == '\n'))
    {
      if ((byte == '\n') && (last_was_cr != 0U))
      {
        last_was_cr = 0U;
        continue;
      }

      last_was_cr = (byte == '\r') ? 1U : 0U;
      printf("\r\n");
      line[length] = '\0';
      // 识别命令
      Shell_Execute(line);
      length = 0U;
      Shell_PrintPrompt();
    }
    else if ((byte == '\b') || (byte == 0x7FU))
    {
      last_was_cr = 0U;
      if (length > 0U)
      {
        length--;
        printf("\b \b");
      }
    }
    else if ((byte >= 0x20U) && (byte <= 0x7EU))
    {
      last_was_cr = 0U;
      if (length < (SHELL_LINE_SIZE - 1U))
      {
        line[length++] = (char)byte;
        (void)__io_putchar((int)byte);
      }
      else
      {
        length = 0U;
        printf("\r\nERR line too long\r\n");
        Shell_PrintPrompt();
      }
    }
  }
}

/* USER CODE END 0 */

int main(void)
{

  /* MCU Configuration--------------------------------------------------------*/

  /* Reset of all peripherals, Initializes the Flash interface and the Systick. */
  HAL_Init();

  /* Configure the system clock */
  SystemClock_Config();

  /* 初始化GPIO、TIM3、UART4 */
  MX_GPIO_Init();
  MX_TIM3_Init();
  MX_UART4_Init();
  /* USER CODE BEGIN 2 */
  HAL_TIM_Base_Start_IT(&htim3);
  UART4_StartReceive();
  printf("\r\nCANBox UART Shell %s\r\n", FW_VERSION);
  /* 初始化DBC接收状态 */
  DBC_Packet1ReceiverInit(&dbc_packet1_receiver);
  printf("DBC codec ready: 12 extended frames, defensive checks enabled\r\n");
  /*初始化ADC按键与LCD*/
  if (ADC_Keys_Init() != 0U)
  {
	// 按键消抖
    KeyService_Init(AppTime_GetMs());
    printf("ADC keypad ready: PC4/PC5/PB0, scan period 10ms\r\n");
  }
  else
  {
    printf("ERR ADC keypad initialization failed\r\n");
  }
  (void)LCD12864_Init();
  LCD12864_WriteLine(0U, "CANBox V1.6.0");
  LCD12864_WriteLine(1U, "UART4 115200");
  LCD12864_WriteLine(2U, "KEY MENU READY");
  LCD12864_WriteLine(3U, "NEXT/PREV PAGE");
  printf("LCD12864 initialization sequence sent\r\n");
  /*初始化CAN1*/
  if (CAN1_Init() != 0U)
  {
    uint8_t index;
    uint32_t now_ms = AppTime_GetMs();
    for (index = 0U; index < DBC_CANBOX_PACKET_COUNT; index++)
    {
      dbc_tx_last_ms[index] = now_ms;
    }
    printf("CAN1 ready: 500K extended frame, normal mode\r\n");
    // 在CAN初始化成功后执行
    dbc_tx_enabled = 1U;
    printf("DBC periodic TX ready: CB1/CB2/CB5/CB6 enabled\r\n");
  }
  else
  {
    printf("ERR CAN1 init failed (PCLK1 must be 36 MHz)\r\n");
  }
  printf("Type help or h for commands.\r\n");
  // 在串口终端打印命令提示符
  Shell_PrintPrompt();
  /* USER CODE END 2 */

  /* Infinite loop */
  /* USER CODE BEGIN WHILE */
  while (1)
  {
    uint32_t now_ms = AppTime_GetMs();

    Shell_Process();
    CAN_ProcessReceived();
    DBC_TxTask(now_ms);
    // 按键改变LCD过程
    // 按键采样周期10ms
    if (AppTime_IsDue(now_ms, &key_sample_last_ms, 10U) != 0U)
    {
      // ADC识别按键，ADC先把电压转换为对应按键
      ADC_Keys_SampleTask();
      // 按键消抖后产生按键事件
      KeyService_Task(now_ms);
    }
    // 主循环取出事件
    Key_ProcessEvents();
    // 按键处理结束LCD重新刷新
    Menu_LcdTask(now_ms);
    if (AppTime_IsDue(now_ms, &heartbeat_last_ms, 500U) != 0U)
    {
      HAL_GPIO_TogglePin(GPIOC, GPIO_PIN_3);
    }
    /* USER CODE END WHILE */

  }
}

void SystemClock_Config(void)
{
  RCC_OscInitTypeDef RCC_OscInitStruct = {0};
  RCC_ClkInitTypeDef RCC_ClkInitStruct = {0};

  /** Initializes the RCC Oscillators according to the specified parameters
  * in the RCC_OscInitTypeDef structure.
  */
  RCC_OscInitStruct.OscillatorType = RCC_OSCILLATORTYPE_HSE;
  RCC_OscInitStruct.HSEState = RCC_HSE_ON;
  RCC_OscInitStruct.HSEPredivValue = RCC_HSE_PREDIV_DIV1;
  RCC_OscInitStruct.HSIState = RCC_HSI_ON;
  RCC_OscInitStruct.Prediv1Source = RCC_PREDIV1_SOURCE_HSE;
  RCC_OscInitStruct.PLL.PLLState = RCC_PLL_ON;
  RCC_OscInitStruct.PLL.PLLSource = RCC_PLLSOURCE_HSE;
  RCC_OscInitStruct.PLL.PLLMUL = RCC_PLL_MUL9;
  RCC_OscInitStruct.PLL2.PLL2State = RCC_PLL_NONE;
  if (HAL_RCC_OscConfig(&RCC_OscInitStruct) != HAL_OK)
  {
    Error_Handler();
  }

  /** Initializes the CPU, AHB and APB buses clocks
  */
  RCC_ClkInitStruct.ClockType = RCC_CLOCKTYPE_HCLK|RCC_CLOCKTYPE_SYSCLK
                              |RCC_CLOCKTYPE_PCLK1|RCC_CLOCKTYPE_PCLK2;
  RCC_ClkInitStruct.SYSCLKSource = RCC_SYSCLKSOURCE_PLLCLK;
  RCC_ClkInitStruct.AHBCLKDivider = RCC_SYSCLK_DIV1;
  RCC_ClkInitStruct.APB1CLKDivider = RCC_HCLK_DIV2;
  RCC_ClkInitStruct.APB2CLKDivider = RCC_HCLK_DIV1;

  if (HAL_RCC_ClockConfig(&RCC_ClkInitStruct, FLASH_LATENCY_2) != HAL_OK)
  {
    Error_Handler();
  }

  /** Configure the Systick interrupt time
  */
  __HAL_RCC_PLLI2S_ENABLE();
}

void Error_Handler(void)
{
  __disable_irq();
  while (1)
  {
  }
}
